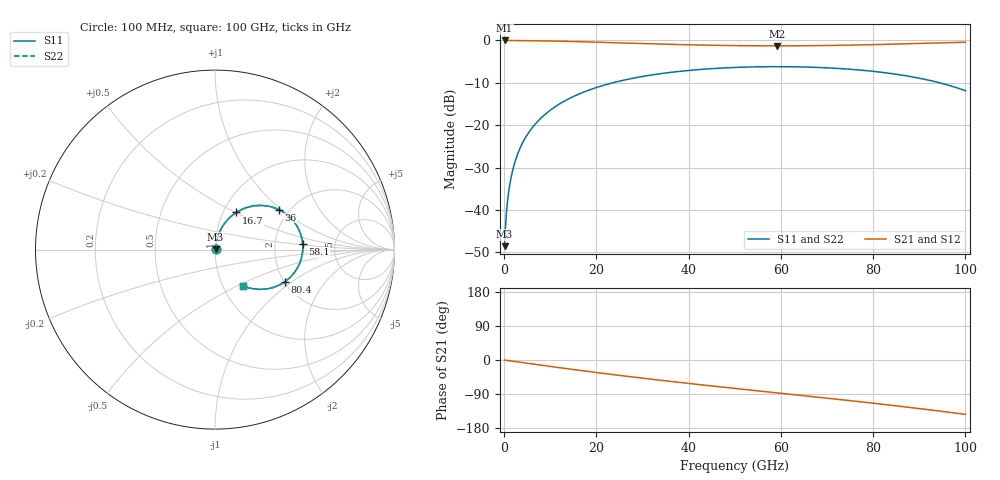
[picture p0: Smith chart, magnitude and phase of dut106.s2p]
! Touchstone file exported from HFSS 2026.1.0
!  File:  C:/ffzhzh/LocalFiles/Ansys_Project_Files/temp_train_RDL_106_1783499203_41296.aedt
!  Generated:  04:27:49 PM Jul  8, 2026
!  Design:  RDL
!  Project:  temp_train_RDL_106_1783499203_41296
! Variables:
!  h_bsmrdl = 2um
!  h_ox = 20um
!  h_rdl = 5um
!  h_sub = 80um
!  h_tmrdl = 2.19um
!  h_tsv = 80um
!  h_via = 3um
!  l_bsmrdl = 300um
!  l_sub = 877.91um
!  l_tmrdl = 477.91um
!  m_sub = 200um
!  pitch = 47.28um
!  r_tsv = 6um
!  s_tmrdl = 10um
!  w_bsmrdl = 18um
!  w_sub = 500um
!  w_tmrdl = 26.29um
!  x_tsv_center1 = 491.055um
!  x_tsv_center2 = 809.055um
!  x_tsv_center3 = 1313.255um
!  x_tsv_center4 = 1631.255um
!  x_tsv_center5 = 2135.455um
!  x_tsv_center6 = 2453.455um
# GHz S MA R 50.000000
! Terminal data exported
! Port[1] = TM_RDL1_1_T1
! Port[2] = TM_RDL1_1_T2
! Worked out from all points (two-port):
!   1000 points, 100 MHz to 100 GHz, reference 50 ohm
!   highest |S21| = -0.03 dB at 100 MHz (marker M1); lowest = -1.3 dB at 59.2 GHz (marker M2)
!   |S21| within 3 dB of the highest: start of sweep to end of sweep
!   lowest |S11| = -48.5 dB at 100 MHz (marker M3), VSWR 1.01, Z = 50.3 + j0.18 ohm
!   |S11| at or under -10 dB: start of sweep to 23.58 GHz; 94.38 GHz to end of sweep
!   |S22| runs from -48.5 to -6.2 dB; largest |S21 - S12| = 5e-14
!   S11 on the Smith chart (normalised r, x): 100 MHz: 1.01, +0.00; 16.7 GHz: 1.15, +0.51; 36 GHz: 1.77, +0.96; 58.1 GHz: 2.89, +0.25; 80.4 GHz: 2.02, -0.88; 100 GHz: 1.24, -0.53
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0.1  0.003743 28.5  0.9967 -0.2  0.9967 -0.2  0.003743 28.5
! Gamma 0 0 0 0
! Port Impedance 50 0 50 0
0.9  0.01519 72.1  0.9956 -1.6  0.9956 -1.6  0.01519 72.1
1.2  0.01964 74.9  0.9954 -2.1  0.9954 -2.1  0.01964 74.9
1.6  0.02563 77.0  0.9951 -2.8  0.9951 -2.8  0.02563 77.0
2.7  0.04226 78.8  0.9943 -4.7  0.9943 -4.7  0.04226 78.8
4.2  0.06497 78.3  0.9928 -7.2  0.9928 -7.2  0.06497 78.3
6.3  0.09643 75.9  0.9898 -10.8  0.9898 -10.8  0.09642 75.9
9.1  0.1373 71.9  0.9843 -15.5  0.9843 -15.5  0.1373 71.9
12.5  0.1846 66.7  0.9755 -21.1  0.9755 -21.1  0.1846 66.6
16.7  0.2388 60.1  0.9626 -27.9  0.9626 -27.9  0.2388 60.1
16.8  0.24 60.0  0.9623 -28.0  0.9623 -28.0  0.24 60.0
24.2  0.3225 48.8  0.9366 -39.4  0.9366 -39.4  0.3225 48.8
33.4  0.4012 35.8  0.9052 -52.8  0.9052 -52.8  0.4011 35.8
36  0.4186 32.2  0.8972 -56.4  0.8972 -56.4  0.4185 32.2
50.1  0.4792 13.9  0.8666 -75.1  0.8666 -75.1  0.479 13.9
58.1  0.4895 3.8  0.8609 -85.3  0.8609 -85.3  0.4893 3.8
59.2  0.4896 2.5  0.8608 -86.7  0.8608 -86.7  0.4895 2.4
66.7  0.482 -6.9  0.8648 -96.3  0.8648 -96.3  0.4818 -7.0
80.4  0.4285 -24.7  0.8909 -114.5  0.8909 -114.5  0.4282 -24.8
83.4  0.4094 -28.7  0.8993 -118.7  0.8993 -118.7  0.4092 -28.8
92.2  0.3377 -41.0  0.9267 -131.5  0.9267 -131.5  0.3374 -41.2
100  0.2547 -52.2  0.9507 -143.5  0.9507 -143.5  0.2544 -52.5
